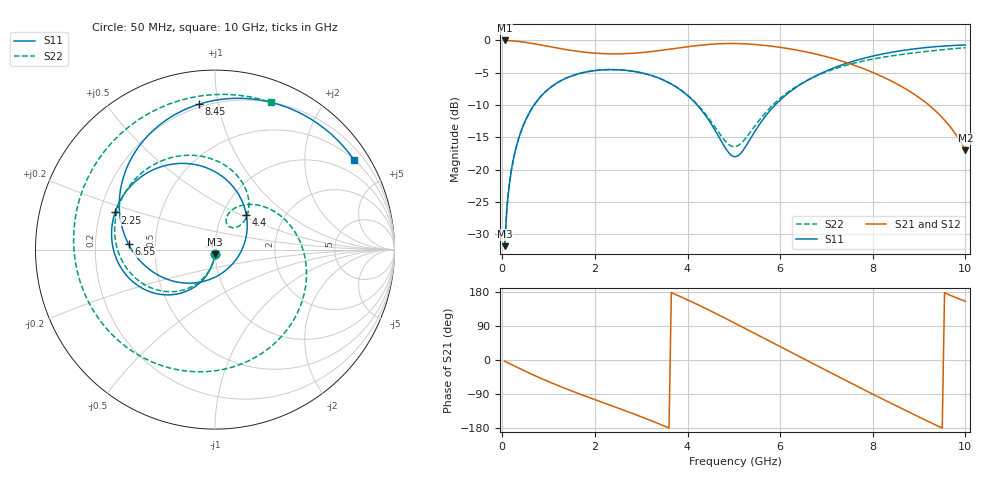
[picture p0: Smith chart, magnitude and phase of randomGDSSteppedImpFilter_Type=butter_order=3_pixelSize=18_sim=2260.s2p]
! freq	dB(S11)	phase(S11)	dB(S12)	phase(S12)
!  dB(S21)	phase(S21)	dB(S22)	phase(S22)
!S-par simulation data
#  GHz  S  DB  R 50
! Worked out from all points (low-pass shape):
!   200 points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, 50 MHz to 10 GHz, reference 50 ohm
!   highest |S21| = -0.01 dB at 50 MHz (marker M1); lowest = -17.0 dB at 10 GHz (marker M2)
!   |S21| within 3 dB of the highest: start of sweep to 7.242 GHz
!   lowest |S11| = -31.8 dB at 50 MHz (marker M3), VSWR 1.05, Z = 49.8 - j2.55 ohm
!   |S11| at or under -10 dB: start of sweep to 686.7 MHz; 4.209 GHz to 5.889 GHz (1.68 GHz wide, 33.3 % of centre)
!   |S22| runs from -31.8 to -1.1 dB; largest |S21 - S12| = 0
!   S11 on the Smith chart (normalised r, x): 50 MHz: 1.00, -0.05; 2.25 GHz: 0.26, +0.17; 4.4 GHz: 1.30, +0.53; 6.55 GHz: 0.35, +0.03; 8.45 GHz: 0.18, +0.88; 10 GHz: 0.51, +3.34
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0.05  -31.82 -93.1  -0.01 -3.1  -0.01 -3.1  -31.82 -93.3
0.1  -25.82 -96.1  -0.02 -6.1  -0.02 -6.1  -25.82 -96.6
0.2  -19.89 -102.1  -0.06 -12.1  -0.06 -12.1  -19.90 -103.1
0.5  -12.38 -119.1  -0.30 -29.8  -0.30 -29.8  -12.38 -121.6
1.05  -7.22 -147.7  -0.99 -59.8  -0.99 -59.8  -7.23 -152.9
1.75  -4.97 -179.5  -1.80 -93.4  -1.80 -93.4  -4.98 171.7
2.25  -4.52 159.6  -2.06 -115.7  -2.06 -115.7  -4.53 148.1
3.4  -5.88 109.1  -1.57 -169.2  -1.57 -169.2  -5.89 92.7
3.95  -8.21 79.4  -1.03 161.6  -1.03 161.6  -8.17 65.4
4.4  -11.73 47.6  -0.66 135.5  -0.66 135.5  -11.49 47.2
5.05  -17.97 -49.2  -0.48 95.4  -0.48 95.4  -16.39 60.7
5.9  -9.92 -149.6  -0.97 41.6  -0.97 41.6  -9.58 49.2
6.55  -6.33 176.5  -1.76 0.5  -1.76 0.5  -6.30 2.3
6.7  -5.74 169.7  -2.00 -8.9  -2.00 -8.9  -5.76 -9.7
7.15  -4.27 150.2  -2.82 -37.3  -2.82 -37.3  -4.46 -47.0
7.65  -3.07 129.3  -3.97 -68.5  -3.97 -68.5  -3.42 -89.4
8.35  -1.91 100.5  -6.10 -111.5  -6.10 -111.5  -2.46 -149.1
8.45  -1.78 96.4  -6.46 -117.5  -6.46 -117.5  -2.35 -157.7
8.8  -1.40 82.1  -7.89 -138.6  -7.89 -138.6  -2.01 172.3
9.15  -1.11 67.7  -9.64 -159.4  -9.64 -159.4  -1.71 142.2
9.6  -0.84 49.2  -12.73 174.8  -12.73 174.8  -1.37 103.3
10  -0.71 32.7  -16.98 155.0  -16.98 155.0  -1.13 69.0
